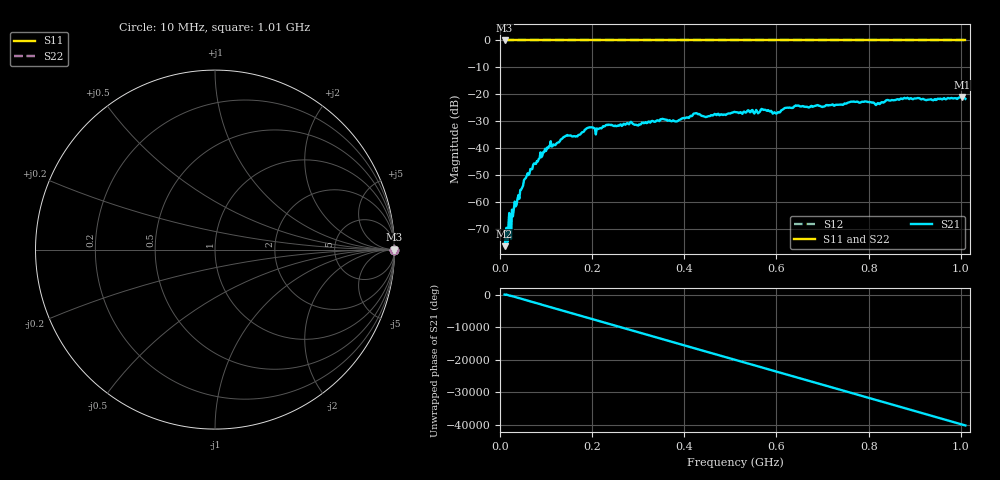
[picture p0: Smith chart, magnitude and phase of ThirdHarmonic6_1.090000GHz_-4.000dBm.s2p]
! 8/16/2025 10:07:06 AM
! C:\ANRITSUVNA\TEMP\TEMP.S2P
! CHANNEL.1
! TR.MEASUREMENT
! RAW.DATA
! RF.CORRECTION.OFF
! AVERAGING.OFF
! IF.BANDWIDTH: 5KHZ
! SWEEPTYPE:  FREQ.SWEEP(Linear)
! Reference Plane Port Info
! PORT:  PORT1  PORT2
! DISTANCE:  0  m  0  m
! TIME:  0  s  0  s
! PHASE.OFFSET:  0  deg.  0  deg.
! LOSS:  0  dB  0  dB
! REF.LOSS:  0  dB  0  dB
! REF.FREQ:  0  Hz  0  Hz
! Power Info
! POWER:  -20  dBm  -20  dBm
! EFF.POWER:  -20  dBm  -20  dBm
! SOURCE.ATTEN:  0  dB  0  dB
! TEST.ATTEN:  0  dB  0  dB
# GHZ S RI R 50.0
! FREQ.GHZ  S11RE  S11IM  S21RE  S21IM  S12RE  S12IM  S22RE  S22IM
!; PortSelection: Port_12
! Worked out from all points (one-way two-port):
!   501 points, 10 MHz to 1.01 GHz, reference 50 ohm
!   highest |S21| = -20.93 dB at 1.002 GHz (marker M1); lowest = -76.2 dB at 10 MHz (marker M2)
!   lowest |S11| = 0.0 dB at 10 MHz (marker M3)
!   |S11| at or under -10 dB: nowhere
!   |S22| runs from 0.0 to 0.0 dB; largest |S21 - S12| = 1.1
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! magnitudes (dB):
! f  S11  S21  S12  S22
! 10 MHz  0.0  -76.2  0.0  0.0
! 16 MHz  0.0  -74.7  0.0  0.0
! 20 MHz  0.0  -63.9  0.0  0.0
! 22 MHz  0.0  -70.6  0.0  0.0
! 26 MHz  0.0  -62.7  0.0  0.0
! 30 MHz  0.0  -62.5  0.0  0.0
! 56 MHz  0.0  -51.0  0.0  0.0
! 70 MHz  0.0  -47.7  0.0  0.0
! 106 MHz  0.0  -39.3  0.0  0.0
! 142 MHz  0.0  -35.4  0.0  0.0
! 178 MHz  0.0  -34.0  0.0  0.0
! 194 MHz  0.0  -32.2  0.0  0.0
! 212 MHz  0.0  -32.8  0.0  0.0
! 344 MHz  0.0  -29.7  0.0  0.0
! 510 MHz  0.0  -26.5  0.0  0.0
! 570 MHz  0.0  -25.5  0.0  0.0
! 596 MHz  0.0  -26.6  0.0  0.0
! 644 MHz  0.0  -24.2  0.0  0.0
! 678 MHz  0.0  -24.6  0.0  0.0
! 844 MHz  0.0  -22.2  0.0  0.0
! 1.002 GHz  0.0  -20.9  0.0  0.0
! 1.01 GHz  0.0  -21.6  0.0  0.0
